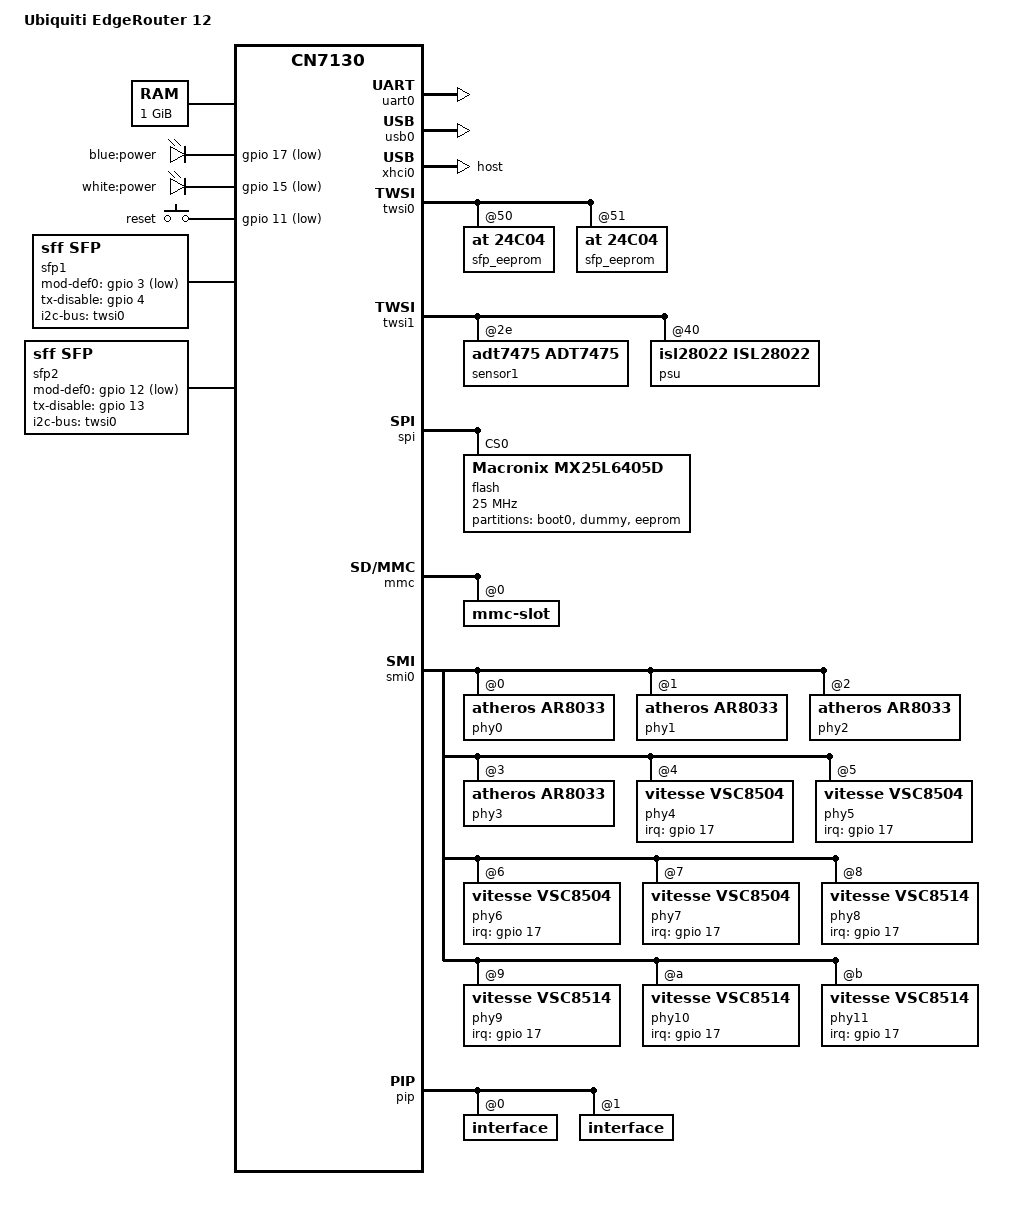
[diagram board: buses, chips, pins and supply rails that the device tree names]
// SPDX-License-Identifier: GPL-2.0-or-later OR MIT

#include "cn71xx.dtsi"

#include <dt-bindings/gpio/gpio.h>
#include <dt-bindings/input/input.h>

/ {
	compatible = "ubnt,edgerouter-12", "cavium,cn7130";
	model = "Ubiquiti EdgeRouter 12";

	aliases {
		/* White + Blinking Blue */
		led-boot = &led_power_white;
		/* Blue + Blinking White */
		led-failsafe = &led_power_blue;
		/* Constant Blue */
		led-running = &led_power_blue;
		/* Blue + Blinking White */
		led-upgrade = &led_power_blue;
	};

	memory@0 {
		device_type = "memory";
		reg = <0x0 0x00000000>,
		      <0x0 0x10000000>,
		      <0x0 0x20000000>,
		      <0x0 0x30000000>;
	};

	leds {
		compatible = "gpio-leds";

		led_power_blue: power_blue {
			label = "blue:power";
			gpios = <&gpio 17 GPIO_ACTIVE_LOW>;
		};

		led_power_white: power_white {
			label = "white:power";
			gpios = <&gpio 15 GPIO_ACTIVE_LOW>;
		};
	};

	keys {
		compatible = "gpio-keys-polled";
		poll-interval = <20>;

		reset {
			label = "reset";
			linux,code = <KEY_RESTART>;
			gpios = <&gpio 11 GPIO_ACTIVE_LOW>;
			debounce-interval = <60>;
		};
	};

	sfp1: sfp1 {
		compatible = "sff,sfp";
		i2c-bus = <&twsi0>;
		/* Pins 3, 5 gets pulled low when SFP without cable is plugged in */
		/* Pins 4 gets pulled low when SFP cable is plugged in to SFP module */
		mod-def0-gpio = <&gpio 3 GPIO_ACTIVE_LOW>;
		tx-disable-gpios = <&gpio 4 GPIO_ACTIVE_HIGH>;
	};

	sfp2: sfp2 {
		compatible = "sff,sfp";
		i2c-bus = <&twsi0>;
		/* Pins 12, 14 gets pulled low when SFP without cable is plugged in */
		/* Pins 13 gets pulled low when SFP cable is plugged in to SFP module */
		mod-def0-gpio = <&gpio 12 GPIO_ACTIVE_LOW>;
		tx-disable-gpios = <&gpio 13 GPIO_ACTIVE_HIGH>;
	};
};

&uart0 {
	status = "okay";
};

&usb0 {
	status = "okay";
};

&xhci0 {
	status = "okay";
	dr_mode = "host";
};

&twsi0 {
	status = "okay";

	sfp_eeprom@50 {
		compatible = "at,24c04";
		reg = <0x50>;
	};

	sfp_eeprom@51 {
		compatible = "at,24c04";
		reg = <0x51>;
	};
};

&twsi1 {
	status = "okay";

	sensor1@2e {
		#address-cells = <1>;
		#size-cells = <0>;
		compatible = "adt7475,adt7475";
		reg = <0x2e>;
	};

	psu@40 {
		/* No Driver */
		compatible = "isl28022,isl28022";
		reg = <0x40>;
	};
};

&spi {
	status = "okay";

	flash@0 {
		#address-cells = <1>;
		#size-cells = <1>;
		compatible = "Macronix,mx25l6405d", "spi-flash";
		reg = <0>;
		spi-max-frequency = <25000000>;

		partition@0 {
			label = "boot0";
			read-only;
			reg = <0x000000 0x300000>;
		};

		partition@300000 {
			label = "dummy";
			read-only;
			reg = <0x300000 0x100000>;
		};

		eeprom: partition@400000 {
			label = "eeprom";
			read-only;
			reg = <0x400000 0x10000>;
		};
	};
};

&mmc {
	status = "okay";

	mmc-slot@0 {
		compatible = "mmc-slot";
		reg = <0>;
		non-removable;
		max-frequency = <26000000>;
		voltage-ranges = <3300 3300>;
		bus-width = <8>;
	};
};

&smi0 {
	status = "okay";

	phy0: ethernet-phy@0 {
		device_type = "ethernet-phy";
		compatible = "atheros,ar8033", "ethernet-phy-ieee802.3-c22";
		reg = <0>;
	};

	phy1: ethernet-phy@1 {
		device_type = "ethernet-phy";
		compatible = "atheros,ar8033", "ethernet-phy-ieee802.3-c22";
		reg = <1>;
	};

	phy2: ethernet-phy@2 {
		device_type = "ethernet-phy";
		compatible = "atheros,ar8033", "ethernet-phy-ieee802.3-c22";
		reg = <2>;
	};

	phy3: ethernet-phy@3 {
		device_type = "ethernet-phy";
		compatible = "atheros,ar8033", "ethernet-phy-ieee802.3-c22";
		reg = <3>;
	};

	phy4: ethernet-phy@4 {
		device_type = "ethernet-phy";
		interrupts = <17 8>;
		interrupt-parent = <&gpio>;
		compatible = "vitesse,vsc8504", "ethernet-phy-ieee802.3-c22";
		reg = <4>;
		sfp = <&sfp2>;
	};

	phy5: ethernet-phy@5 {
		device_type = "ethernet-phy";
		interrupts = <17 8>;
		interrupt-parent = <&gpio>;
		compatible = "vitesse,vsc8504", "ethernet-phy-ieee802.3-c22";
		reg = <5>;
		sfp = <&sfp1>;
	};

	phy6: ethernet-phy@6 {
		device_type = "ethernet-phy";
		interrupts = <17 8>;
		interrupt-parent = <&gpio>;
		compatible = "vitesse,vsc8504", "ethernet-phy-ieee802.3-c22";
		reg = <6>;
	};

	phy7: ethernet-phy@7 {
		device_type = "ethernet-phy";
		interrupts = <17 8>;
		interrupt-parent = <&gpio>;
		compatible = "vitesse,vsc8504", "ethernet-phy-ieee802.3-c22";
		reg = <7>;
	};

	phy8: ethernet-phy@8 {
		device_type = "ethernet-phy";
		interrupts = <17 8>;
		interrupt-parent = <&gpio>;
		compatible = "vitesse,vsc8514", "ethernet-phy-ieee802.3-c22";
		reg = <8>;
	};

	phy9: ethernet-phy@9 {
		device_type = "ethernet-phy";
		interrupts = <17 8>;
		interrupt-parent = <&gpio>;
		compatible = "vitesse,vsc8514", "ethernet-phy-ieee802.3-c22";
		reg = <9>;
	};

	phy10: ethernet-phy@a {
		device_type = "ethernet-phy";
		interrupts = <17 8>;
		interrupt-parent = <&gpio>;
		compatible = "vitesse,vsc8514", "ethernet-phy-ieee802.3-c22";
		reg = <10>;
	};

	phy11: ethernet-phy@b {
		device_type = "ethernet-phy";
		interrupts = <17 8>;
		interrupt-parent = <&gpio>;
		compatible = "vitesse,vsc8514", "ethernet-phy-ieee802.3-c22";
		reg = <11>;
	};
};

&pip {
	status = "okay";

	interface@0 {
		status = "okay";

		ethernet@0 {
			label = "lan11";
			status = "okay";
			phy-mode = "sgmii";
			phy-handle = <&phy4>;
			mtd-mac-address = <&eeprom 0>;
		};

		ethernet@1 {
			label = "lan10";
			status = "okay";
			phy-mode = "sgmii";
			phy-handle = <&phy5>;
			mtd-mac-address = <&eeprom 0>;
			mtd-mac-address-increment = <(1)>;
		};

		ethernet@2 {
			label = "lan8";
			status = "okay";
			phy-mode = "sgmii";
			phy-handle = <&phy6>;
			mtd-mac-address = <&eeprom 0>;
			mtd-mac-address-increment = <(2)>;
		};

		ethernet@3 {
			label = "lan9";
			status = "okay";
			phy-mode = "sgmii";
			phy-handle = <&phy7>;
			mtd-mac-address = <&eeprom 0>;
			mtd-mac-address-increment = <(3)>;
		};
	};

	interface@1 {
		status = "okay";

		ethernet@0 {
			label = "itf0";
			status = "okay";
			mtd-mac-address = <&eeprom 0>;
			mtd-mac-address-increment = <(4)>;
			fixed-link {
				speed = <1000>;
				full-duplex;
			};
		};

		ethernet@1 {
			label = "itf1";
			status = "okay";
			mtd-mac-address = <&eeprom 0>;
			mtd-mac-address-increment = <(5)>;
			fixed-link {
				speed = <1000>;
				full-duplex;
			};
		};

		ethernet@2 {
			label = "itf2";
			status = "okay";
			mtd-mac-address = <&eeprom 0>;
			mtd-mac-address-increment = <(6)>;
			fixed-link {
				speed = <1000>;
				full-duplex;
			};
		};

		ethernet@3 {
			label = "itf3";
			status = "okay";
			mtd-mac-address = <&eeprom 0>;
			mtd-mac-address-increment = <(7)>;
			fixed-link {
				speed = <1000>;
				full-duplex;
			};
		};
	};
};
